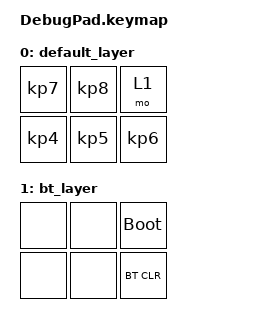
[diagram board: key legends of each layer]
#include <behaviors.dtsi>
#include <dt-bindings/zmk/keys.h>
#include <dt-bindings/zmk/bt.h>

/ {  
    keymap {
        compatible = "zmk,keymap";

        default_layer {
            bindings = <
                &kp KP_N7     &kp KP_N8     &mo 1
                &kp KP_N4     &kp KP_N5     &kp KP_N6
            >;
        }; 
        
        bt_layer {
            bindings = <
                &none            &none            &bootloader
                &none            &none            &bt BT_CLR
            >;
        };
    };
};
